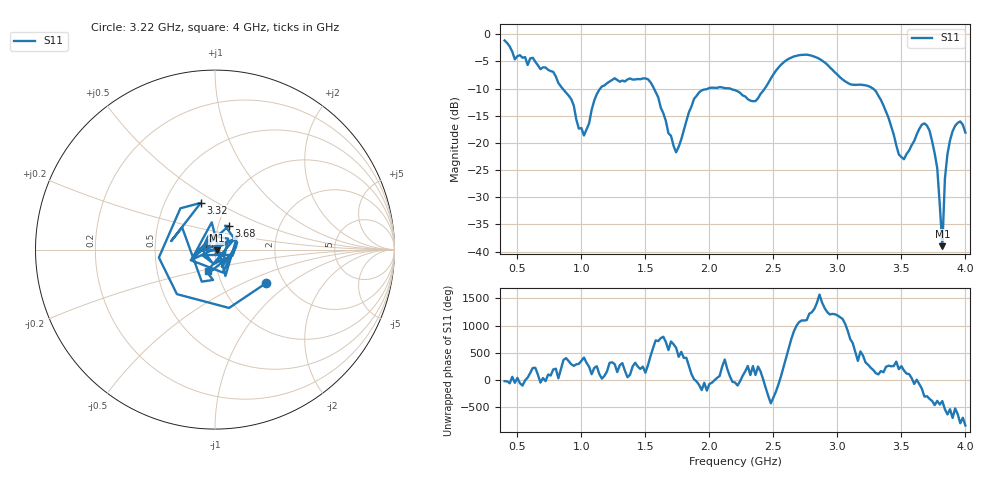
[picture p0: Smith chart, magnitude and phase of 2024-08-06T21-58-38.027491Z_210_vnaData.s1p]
!Created with skrf (http://scikit-rf.org).
# Hz S RI R 50.0
!freq ReS11 ImS11
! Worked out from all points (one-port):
!   181 points, 400 MHz to 4 GHz, reference 50 ohm
!   lowest |S11| = -39.0 dB at 3.82 GHz (marker M1), VSWR 1.02, Z = 51 - j0.436 ohm
!   |S11| at or under -10 dB: 853.5 MHz to 1.147 GHz (293.2 MHz wide, 29.3 % of centre); 1.567 GHz to 1.988 GHz (421.1 MHz wide, 23.7 % of centre); 3.279 GHz to end of sweep (the widest 3 of 4)
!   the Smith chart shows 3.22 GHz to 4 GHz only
!   S11 on the Smith chart (normalised r, x): 3.22 GHz: 1.61, -0.68; 3.32 GHz: 0.75, +0.42; 3.68 GHz: 1.12, +0.30; 4 GHz: 0.90, -0.21
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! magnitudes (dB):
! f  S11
! 400 MHz  -1.1
! 480 MHz  -4.6
! 620 MHz  -4.3
! 860 MHz  -10.2
! 1.02 GHz  -18.6
! 1.14 GHz  -10.2
! 1.3 GHz  -8.7
! 1.52 GHz  -8.3
! 1.74 GHz  -21.7
! 1.76 GHz  -20.7
! 1.92 GHz  -10.7
! 2.2 GHz  -10.3
! 2.36 GHz  -12.3
! 2.66 GHz  -4.1
! 2.86 GHz  -4.5
! 3.1 GHz  -9.2
! 3.22 GHz  -9.4
! 3.32 GHz  -11.3
! 3.48 GHz  -22.1
! 3.56 GHz  -21.4
! 3.68 GHz  -16.4
! 3.72 GHz  -17.8
! 3.78 GHz  -24.6
! 3.82 GHz  -39.0
! 3.84 GHz  -26.5
! 3.88 GHz  -19.5
! 3.96 GHz  -16.0
! 4 GHz  -18.1
